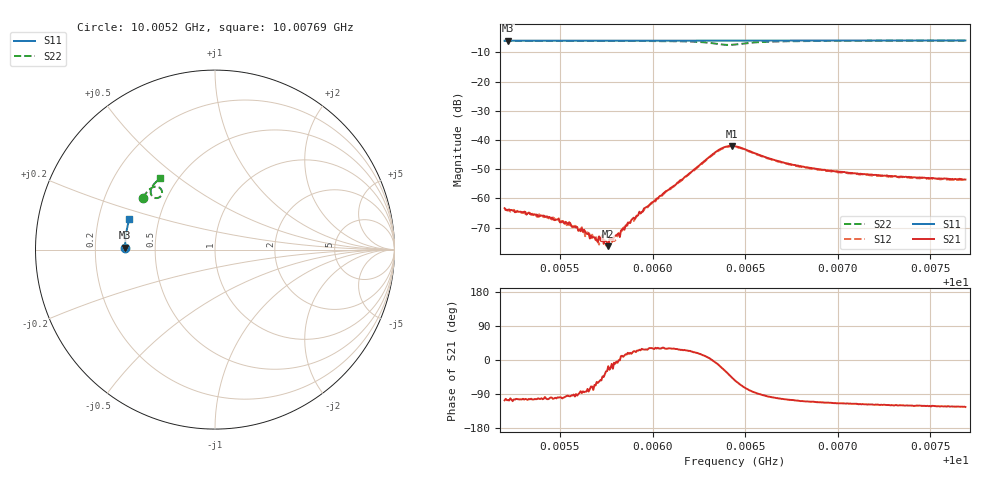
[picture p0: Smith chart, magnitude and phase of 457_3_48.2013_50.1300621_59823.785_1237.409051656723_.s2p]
#  HZ  S  RI  R  50.00
! Rohde & Schwarz Vector Network Analyzer
! Rohde-Schwarz,ZNB20-2Port,1311601062101988,3.16
! Created: UTC 3/20/2024, 11:56:36 AM
! freq[Hz]  re:S11  im:S11  re:S21  im:S21  re:S12  im:S12  re:S22  im:S22
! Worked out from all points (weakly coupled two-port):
!   401 points, 10.0052 GHz to 10.00769 GHz, reference 50 ohm
!   highest |S21| = -42.01 dB at 10.00643 GHz (marker M1); lowest = -76.3 dB at 10.00576 GHz (marker M2)
!   lowest |S11| = -6.0 dB at 10.00522 GHz (marker M3), VSWR 3.00, Z = 16.6 + j0.499 ohm
!   |S11| at or under -10 dB: nowhere
!   |S22| runs from -7.4 to -6.0 dB; largest |S21 - S12| = 0.00049
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1.0005201e10  -0.5007 0.0101  -0.000193 -0.000654  -0.00014 -0.000636  -0.4021 0.2892
1.000522e10  -0.5005 0.0112  -0.000176 -0.000617  -0.000108 -0.00061  -0.4015 0.2903
1.0005431e10  -0.5005 0.025  -0.000115 -0.00048  -0.000107 -0.000459  -0.3928 0.3028
1.0005543e10  -0.5004 0.0323  -2.63e-05 -0.000365  -1.65e-05 -0.000364  -0.3879 0.3095
1.0005618e10  -0.5001 0.0373  1.44e-05 -0.000306  1.92e-05 -0.000321  -0.3845 0.3139
1.0005693e10  -0.4999 0.042  7.9e-05 -0.000186  4.98e-05 -0.000187  -0.3807 0.3186
1.0005717e10  -0.4997 0.0437  0.000125 -0.00017  8.6e-05 -0.000177  -0.3794 0.3201
1.0005742e10  -0.4996 0.0454  0.000151 -0.000117  0.000129 -0.000123  -0.3779 0.3216
1.0005749e10  -0.4997 0.0456  0.000162 -9.4e-05  0.000135 -8.14e-05  -0.3777 0.3221
1.0005761e10  -0.4996 0.0464  0.000147 -4.27e-05  0.000133 -9.67e-05  -0.3771 0.3227
1.0005792e10  -0.4995 0.0485  0.000219 -2.77e-05  0.000186 -1.21e-05  -0.3754 0.3248
1.0005836e10  -0.4992 0.0513  0.00029 5.68e-05  0.000273 7.07e-05  -0.3725 0.3276
1.0005879e10  -0.4991 0.0543  0.000364 0.000124  0.000353 0.000147  -0.3699 0.3305
1.0006035e10  -0.4982 0.0642  0.000919 0.000538  0.000878 0.000558  -0.3576 0.3408
1.0006346e10  -0.4952 0.0842  0.00632 -0.000958  0.0062 -0.000576  -0.2971 0.3298
1.0006383e10  -0.4948 0.0865  0.00678 -0.00309  0.00678 -0.00267  -0.2959 0.3103
1.0006427e10  -0.4944 0.0888  0.00557 -0.00565  0.00575 -0.00531  -0.3111 0.2908
1.0006446e10  -0.4944 0.09  0.00458 -0.00632  0.00488 -0.00595  -0.3206 0.2873
1.0006663e10  -0.4928 0.104  -0.000769 -0.00444  -0.000564 -0.00439  -0.3582 0.3276
1.0006862e10  -0.4904 0.1166  -0.00112 -0.00309  -0.000979 -0.00308  -0.3496 0.3504
1.0007279e10  -0.4842 0.143  -0.00118 -0.00213  -0.00104 -0.00215  -0.3282 0.3776
1.000769e10  -0.4768 0.1683  -0.00118 -0.00175  -0.00108 -0.00179  -0.3073 0.398
